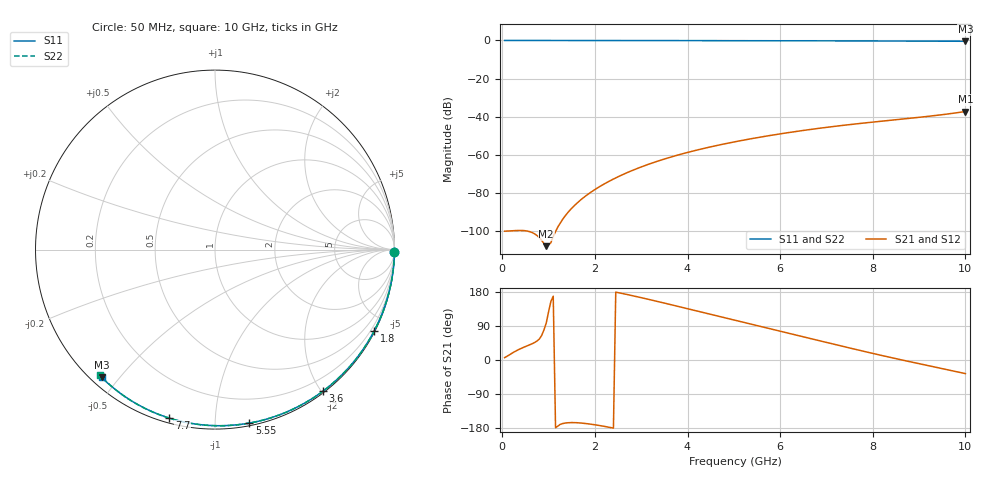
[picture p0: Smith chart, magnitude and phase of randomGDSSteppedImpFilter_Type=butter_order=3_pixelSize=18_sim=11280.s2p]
! freq	dB(S11)	phase(S11)	dB(S12)	phase(S12)
!  dB(S21)	phase(S21)	dB(S22)	phase(S22)
!S-par simulation data
#  GHz  S  DB  R 50
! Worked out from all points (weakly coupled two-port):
!   200 points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, 50 MHz to 10 GHz, reference 50 ohm
!   highest |S21| = -37.26 dB at 10 GHz (marker M1); lowest = -107.9 dB at 950 MHz (marker M2)
!   lowest |S11| = -0.4 dB at 10 GHz (marker M3), VSWR 40.68, Z = 1.48 - j22.5 ohm
!   |S11| at or under -10 dB: nowhere
!   |S22| runs from -0.5 to 0.0 dB; largest |S21 - S12| = 0
!   S11 on the Smith chart (normalised r, x): 50 MHz: open; 1.8 GHz: 0.04, -4.17; 3.6 GHz: 0.02, -2.02; 5.55 GHz: 0.02, -1.22; 7.7 GHz: 0.02, -0.76; 10 GHz: 0.03, -0.45
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0.05  -0.00 -0.8  -100.02 6.3  -100.02 6.3  -0.00 -0.8
0.5  -0.01 -7.6  -99.79 35.5  -99.79 35.5  -0.01 -7.7
0.95  -0.02 -14.4  -107.87 98.0  -107.87 98.0  -0.02 -14.5
1.75  -0.03 -26.2  -82.48 -166.9  -82.48 -166.9  -0.03 -26.4
1.8  -0.03 -27.0  -81.54 -167.6  -81.54 -167.6  -0.03 -27.2
1.9  -0.04 -28.4  -79.79 -169.2  -79.79 -169.2  -0.04 -28.7
2.05  -0.04 -30.6  -77.40 -171.9  -77.40 -171.9  -0.04 -30.9
2.25  -0.04 -33.6  -74.57 -176.2  -74.57 -176.2  -0.04 -33.8
2.65  -0.05 -39.3  -69.80 174.0  -69.80 174.0  -0.05 -39.6
3  -0.06 -44.3  -66.32 164.5  -66.32 164.5  -0.06 -44.6
3.4  -0.07 -50.0  -62.93 153.1  -62.93 153.1  -0.07 -50.3
3.6  -0.07 -52.8  -61.43 147.2  -61.43 147.2  -0.07 -53.1
3.9  -0.08 -56.9  -59.36 138.4  -59.36 138.4  -0.08 -57.3
4.3  -0.09 -62.3  -56.90 126.4  -56.90 126.4  -0.09 -62.8
5.05  -0.11 -72.3  -53.00 104.2  -53.00 104.2  -0.11 -72.8
5.55  -0.13 -78.8  -50.78 89.4  -50.78 89.4  -0.13 -79.3
6.1  -0.15 -85.8  -48.61 73.1  -48.61 73.1  -0.15 -86.4
6.7  -0.18 -93.2  -46.51 55.3  -46.51 55.3  -0.18 -93.8
7.7  -0.24 -105.2  -43.58 25.9  -43.58 25.9  -0.24 -105.9
8.35  -0.29 -112.8  -41.94 7.6  -41.94 7.6  -0.29 -113.6
9.35  -0.37 -124.3  -39.36 -18.8  -39.36 -18.8  -0.38 -125.2
10  -0.43 -131.6  -37.26 -36.0  -37.26 -36.0  -0.46 -132.6
